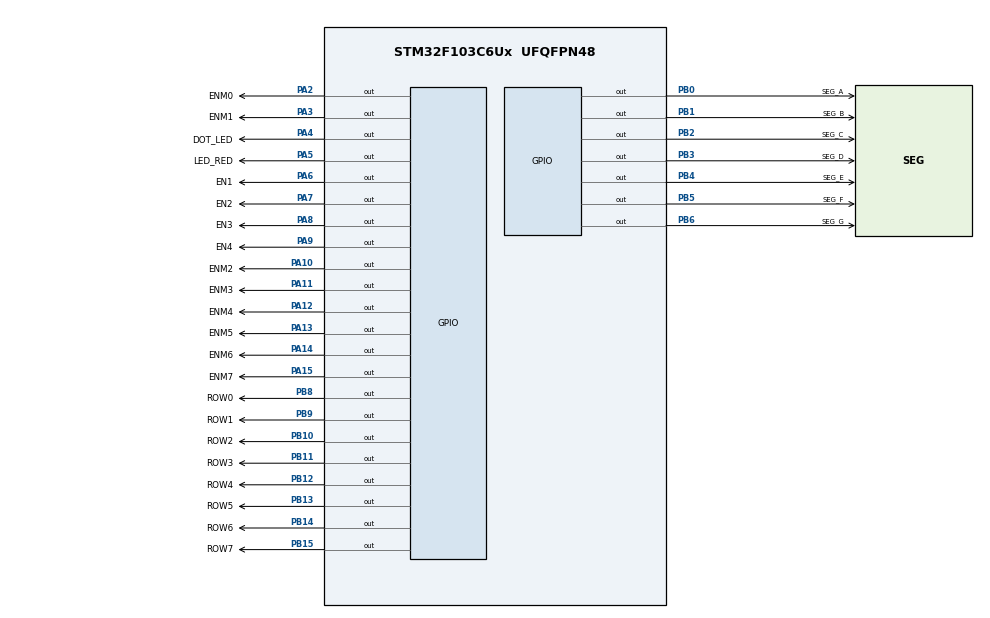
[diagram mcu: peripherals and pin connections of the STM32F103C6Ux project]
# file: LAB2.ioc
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Mcu.Family=STM32F1
Mcu.Name=STM32F103C6Ux
Mcu.Package=UFQFPN48
NVIC.PriorityGroup=NVIC_PRIORITYGROUP_4
NVIC.TIM2_IRQn=true\:0\:0\:false\:false\:true\:true\:true
PA10.GPIO_Label=ENM2
PA10.Signal=GPIO_Output
PA11.GPIO_Label=ENM3
PA11.Signal=GPIO_Output
PA12.GPIO_Label=ENM4
PA12.Signal=GPIO_Output
PA13.GPIO_Label=ENM5
PA13.Signal=GPIO_Output
PA14.GPIO_Label=ENM6
PA14.Signal=GPIO_Output
PA15.GPIO_Label=ENM7
PA15.Signal=GPIO_Output
PA2.GPIO_Label=ENM0
PA2.Signal=GPIO_Output
PA3.GPIO_Label=ENM1
PA3.Signal=GPIO_Output
PA4.GPIO_Label=DOT_LED
PA4.Signal=GPIO_Output
PA5.GPIO_Label=LED_RED
PA5.Signal=GPIO_Output
PA6.GPIO_Label=EN1
PA6.Signal=GPIO_Output
PA7.GPIO_Label=EN2
PA7.Signal=GPIO_Output
PA8.GPIO_Label=EN3
PA8.Signal=GPIO_Output
PA9.GPIO_Label=EN4
PA9.Signal=GPIO_Output
PB0.GPIO_Label=SEG_A
PB0.Signal=GPIO_Output
PB1.GPIO_Label=SEG_B
PB1.Signal=GPIO_Output
PB10.GPIO_Label=ROW2
PB10.Signal=GPIO_Output
PB11.GPIO_Label=ROW3
PB11.Signal=GPIO_Output
PB12.GPIO_Label=ROW4
PB12.Signal=GPIO_Output
PB13.GPIO_Label=ROW5
PB13.Signal=GPIO_Output
PB14.GPIO_Label=ROW6
PB14.Signal=GPIO_Output
PB15.GPIO_Label=ROW7
PB15.Signal=GPIO_Output
PB2.GPIO_Label=SEG_C
PB2.Signal=GPIO_Output
PB3.GPIO_Label=SEG_D
PB3.Signal=GPIO_Output
PB4.GPIO_Label=SEG_E
PB4.Signal=GPIO_Output
PB5.GPIO_Label=SEG_F
PB5.Signal=GPIO_Output
PB6.GPIO_Label=SEG_G
PB6.Signal=GPIO_Output
PB8.GPIO_Label=ROW0
PB8.Signal=GPIO_Output
PB9.GPIO_Label=ROW1
PB9.Signal=GPIO_Output
ProjectManager.HeapSize=0x200
ProjectManager.StackSize=0x400
ProjectManager.TargetToolchain=STM32CubeIDE
RCC.APB1Freq_Value=8000000
RCC.APB2Freq_Value=8000000
TIM2.Period=9
TIM2.Prescaler=7999
VP_SYS_VS_ND.Mode=No_Debug
VP_TIM2_VS_ClockSourceINT.Mode=Internal
board=custom

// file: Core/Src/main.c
/* USER CODE BEGIN Header */
/**
  ******************************************************************************
  * @file           : main.c
  * @brief          : Main program body
  ******************************************************************************
  * @attention
  *
  * <h2><center>&copy; Copyright (c) 2023 STMicroelectronics.
  * All rights reserved.</center></h2>
  *
  * This software component is licensed by ST under BSD 3-Clause license,
  * the "License"; You may not use this file except in compliance with the
  * License. You may obtain a copy of the License at:
  *                        opensource.org/licenses/BSD-3-Clause
  *
  ******************************************************************************
  */
/* USER CODE END Header */
#include "main.h"

TIM_HandleTypeDef htim2;

void SystemClock_Config(void);
static void MX_GPIO_Init(void);
static void MX_TIM2_Init(void);

/* USER CODE BEGIN 0 */
int timer0_counter = 0;
int timer0_flag = 0;
int timer1_counter = 0;
int timer1_flag = 0;
int TIMER_CYCLE = 10;

void setTimer0(int duration) {
    timer0_counter = duration / TIMER_CYCLE;
    timer0_flag = 0;
}
void setTimer1(int duration) {
    timer1_counter = duration / TIMER_CYCLE;
    timer1_flag = 0;
}

void timer_run() {
    if (timer0_counter > 0) {
        timer0_counter--;
    }
    if (timer0_counter <= 0) {
        timer0_flag = 1;
    }
    if (timer1_counter > 0) {
        timer1_counter--;
    }
    if (timer1_counter <= 0) {
        timer1_flag = 1;
    }
}

void display7SEG(int num) {
    // Define the 7-segment patterns for each digit
    const uint8_t segmentPatterns[] = {
        0b11000000, // 0
        0b11111001, // 1
        0b10100100, // 2
        0b10110000, // 3
        0b10011001, // 4
        0b10010010, // 5
        0b10000010, // 6
        0b11111000, // 7
        0b10000000, // 8
        0b10010000  // 9
    };

    // Ensure the input number is within the valid range (0-9)
    if (num < 0 || num > 9) {
        // Handle invalid input
        return;
    }

    // Set the GPIO pins according to the 7-segment pattern for the digit
    HAL_GPIO_WritePin(SEG_A_GPIO_Port, SEG_A_Pin, (segmentPatterns[num] >> 0) & 1);
    HAL_GPIO_WritePin(SEG_B_GPIO_Port, SEG_B_Pin, (segmentPatterns[num] >> 1) & 1);
    HAL_GPIO_WritePin(SEG_C_GPIO_Port, SEG_C_Pin, (segmentPatterns[num] >> 2) & 1);
    HAL_GPIO_WritePin(SEG_D_GPIO_Port, SEG_D_Pin, (segmentPatterns[num] >> 3) & 1);
    HAL_GPIO_WritePin(SEG_E_GPIO_Port, SEG_E_Pin, (segmentPatterns[num] >> 4) & 1);
    HAL_GPIO_WritePin(SEG_F_GPIO_Port, SEG_F_Pin, (segmentPatterns[num] >> 5) & 1);
    HAL_GPIO_WritePin(SEG_G_GPIO_Port, SEG_G_Pin, (segmentPatterns[num] >> 6) & 1);
}
const int MAX_LED = 4;
int led_buffer[4] = {9, 7, 8, 4};
void update7SEG(int index) {
	if (index >= MAX_LED) {
		return;
	}
	switch (index) {
	case 0:
		display7SEG(led_buffer[0]);
		HAL_GPIO_WritePin(EN1_GPIO_Port, EN1_Pin, 0);
		HAL_GPIO_WritePin(EN2_GPIO_Port, EN2_Pin, 1);
		HAL_GPIO_WritePin(EN3_GPIO_Port, EN3_Pin, 1);
		HAL_GPIO_WritePin(EN4_GPIO_Port, EN4_Pin, 1);
		break;
	case 1:
		display7SEG(led_buffer[1]);
		HAL_GPIO_WritePin(EN1_GPIO_Port, EN1_Pin, 1);
		HAL_GPIO_WritePin(EN2_GPIO_Port, EN2_Pin, 0);
		HAL_GPIO_WritePin(EN3_GPIO_Port, EN3_Pin, 1);
		HAL_GPIO_WritePin(EN4_GPIO_Port, EN4_Pin, 1);
	    break;
	case 2:
		display7SEG(led_buffer[2]);
	    HAL_GPIO_WritePin(EN1_GPIO_Port, EN1_Pin, 1);
	    HAL_GPIO_WritePin(EN2_GPIO_Port, EN2_Pin, 1);
	    HAL_GPIO_WritePin(EN3_GPIO_Port, EN3_Pin, 0);
	    HAL_GPIO_WritePin(EN4_GPIO_Port, EN4_Pin, 1);
	    break;
	case 3:
		display7SEG(led_buffer[3]);
	    HAL_GPIO_WritePin(EN1_GPIO_Port, EN1_Pin, 1);
	    HAL_GPIO_WritePin(EN2_GPIO_Port, EN2_Pin, 1);
	    HAL_GPIO_WritePin(EN3_GPIO_Port, EN3_Pin, 1);
	    HAL_GPIO_WritePin(EN4_GPIO_Port, EN4_Pin, 0);
	    break;
	default:
		break;
	}
}

void displayColumnLED(int data) {
	HAL_GPIO_WritePin(ROW0_GPIO_Port, ROW0_Pin, ~(data >> 7) & 1);
	HAL_GPIO_WritePin(ROW1_GPIO_Port, ROW1_Pin, ~(data >> 6) & 1);
	HAL_GPIO_WritePin(ROW2_GPIO_Port, ROW2_Pin, ~(data >> 5) & 1);
	HAL_GPIO_WritePin(ROW3_GPIO_Port, ROW3_Pin, ~(data >> 4) & 1);
	HAL_GPIO_WritePin(ROW4_GPIO_Port, ROW4_Pin, ~(data >> 3) & 1);
	HAL_GPIO_WritePin(ROW5_GPIO_Port, ROW5_Pin, ~(data >> 2) & 1);
	HAL_GPIO_WritePin(ROW6_GPIO_Port, ROW6_Pin, ~(data >> 1) & 1);
	HAL_GPIO_WritePin(ROW7_GPIO_Port, ROW7_Pin, ~(data >> 0) & 1);
}
void clearAllCol(void) {
	HAL_GPIO_WritePin(ENM0_GPIO_Port, ENM0_Pin, 1);
	HAL_GPIO_WritePin(ENM1_GPIO_Port, ENM1_Pin, 1);
	HAL_GPIO_WritePin(ENM2_GPIO_Port, ENM2_Pin, 1);
	HAL_GPIO_WritePin(ENM3_GPIO_Port, ENM3_Pin, 1);
	HAL_GPIO_WritePin(ENM4_GPIO_Port, ENM4_Pin, 1);
	HAL_GPIO_WritePin(ENM5_GPIO_Port, ENM5_Pin, 1);
	HAL_GPIO_WritePin(ENM6_GPIO_Port, ENM6_Pin, 1);
	HAL_GPIO_WritePin(ENM7_GPIO_Port, ENM7_Pin, 1);
}

const int MAX_LED_MATRIX = 8;
uint8_t matrix_buffer[8] = {0x01, 0x02, 0x03, 0x04, 0x05, 0x06, 0x07, 0x08};

void updateLEDMatrix(int index) {
    switch (index) {
        case 0:
        	clearAllCol();
        	displayColumnLED(matrix_buffer[0]);
        	HAL_GPIO_WritePin(ENM0_GPIO_Port, ENM0_Pin, 0);
            break;
        case 1:
        	clearAllCol();
        	displayColumnLED(matrix_buffer[1]);
        	HAL_GPIO_WritePin(ENM1_GPIO_Port, ENM1_Pin, 0);
            break;
        case 2:
        	clearAllCol();
        	displayColumnLED(matrix_buffer[2]);
        	HAL_GPIO_WritePin(ENM2_GPIO_Port, ENM2_Pin, 0);
            break;
        case 3:
        	clearAllCol();
        	displayColumnLED(matrix_buffer[3]);
        	HAL_GPIO_WritePin(ENM3_GPIO_Port, ENM3_Pin, 0);
            break;
        case 4:
        	clearAllCol();
        	displayColumnLED(matrix_buffer[4]);
        	HAL_GPIO_WritePin(ENM4_GPIO_Port, ENM4_Pin, 0);
            break;
        case 5:
        	clearAllCol();
        	displayColumnLED(matrix_buffer[5]);
        	HAL_GPIO_WritePin(ENM5_GPIO_Port, ENM5_Pin, 0);
            break;
        case 6:
        	clearAllCol();
        	displayColumnLED(matrix_buffer[6]);
        	HAL_GPIO_WritePin(ENM6_GPIO_Port, ENM6_Pin, 0);
            break;
        case 7:
        	clearAllCol();
        	displayColumnLED(matrix_buffer[7]);
        	HAL_GPIO_WritePin(ENM7_GPIO_Port, ENM7_Pin, 0);
            break;
        default:
            break;
    }
}

int hour = 15, minute = 8, second = 50;
void updateClockBuffer() {
	  led_buffer[0] = hour / 10;
	  led_buffer[1] = hour % 10;
	  led_buffer[2] = minute / 10;
	  led_buffer[3] = minute % 10;
}

void updateMatrixBuffer(int i) {
    // Define the hex values for the character "A"
    const uint8_t letterA[8] = {
  		  0x00, // 00011000
  		  0x3F, // 00111100
  		  0x7F, // 01100110
  		  0xCC, // 11000011
  		  0xCC, // 11000011
  		  0x7F, // 11111111
  		  0x3F, // 11000011
  		  0x00  // 11000011

    };

    // Copy the hex values to the matrix_buffer
    matrix_buffer[(0)] = letterA[(0+i) % 8];
    matrix_buffer[(1)] = letterA[(1+i) % 8];
    matrix_buffer[(2)] = letterA[(2+i) % 8];
    matrix_buffer[(3)] = letterA[(3+i) % 8];
    matrix_buffer[(4)] = letterA[(4+i) % 8];
    matrix_buffer[(5)] = letterA[(5+i) % 8];
    matrix_buffer[(6)] = letterA[(6+i) % 8];
    matrix_buffer[(7)] = letterA[(7+i) % 8];
}

/* USER CODE END 0 */

int main(void)
{

  /* MCU Configuration--------------------------------------------------------*/

  /* Reset of all peripherals, Initializes the Flash interface and the Systick. */
  HAL_Init();

  /* Configure the system clock */
  SystemClock_Config();

  /* Initialize all configured peripherals */
  MX_GPIO_Init();
  MX_TIM2_Init();
  /* USER CODE BEGIN 2 */
  HAL_TIM_Base_Start_IT(&htim2);

  /* USER CODE END 2 */

  /* Infinite loop */
  /* USER CODE BEGIN WHILE */
  int index_led_matrix = 0;
  int index_led = 0;
  int slide = 0;
  while (1)
    {
      /* USER CODE END WHILE */
  	  if (timer1_flag == 1) {
  		  updateLEDMatrix(index_led_matrix);
  		  index_led_matrix++;
  		  if (index_led_matrix > 7) {
  			  index_led_matrix = 0;
  		  }
  		  updateMatrixBuffer(slide);
  		  ////////////////////
  		  setTimer1(10);
  	  }

  	  if (timer0_flag == 1) {
  		  slide++;
  		  if (slide > 7) {
  			  slide = 0;
  		  }
  		  if (index_led > 3) {
  			  index_led = 0;
  			  second++;
  			  HAL_GPIO_TogglePin(DOT_LED_GPIO_Port, DOT_LED_Pin);
  		  }
  		  if (second >= 60) {
  			  second = 0;
  			  minute++;
  		  }
  		  if (minute >= 60) {
  			  minute = 0;
  			  hour++;
  		  }
  		  if (hour >= 24) {
  			  hour = 0;
  		  }
  		  updateClockBuffer();
  		  update7SEG(index_led);
  		  index_led++;
  		  ///////////
  		  setTimer0(250);
  	  }
    }
}

void SystemClock_Config(void)
{
  RCC_OscInitTypeDef RCC_OscInitStruct = {0};
  RCC_ClkInitTypeDef RCC_ClkInitStruct = {0};

  /** Initializes the RCC Oscillators according to the specified parameters
  * in the RCC_OscInitTypeDef structure.
  */
  RCC_OscInitStruct.OscillatorType = RCC_OSCILLATORTYPE_HSI;
  RCC_OscInitStruct.HSIState = RCC_HSI_ON;
  RCC_OscInitStruct.HSICalibrationValue = RCC_HSICALIBRATION_DEFAULT;
  RCC_OscInitStruct.PLL.PLLState = RCC_PLL_NONE;
  if (HAL_RCC_OscConfig(&RCC_OscInitStruct) != HAL_OK)
  {
    Error_Handler();
  }
  /** Initializes the CPU, AHB and APB buses clocks
  */
  RCC_ClkInitStruct.ClockType = RCC_CLOCKTYPE_HCLK|RCC_CLOCKTYPE_SYSCLK
                              |RCC_CLOCKTYPE_PCLK1|RCC_CLOCKTYPE_PCLK2;
  RCC_ClkInitStruct.SYSCLKSource = RCC_SYSCLKSOURCE_HSI;
  RCC_ClkInitStruct.AHBCLKDivider = RCC_SYSCLK_DIV1;
  RCC_ClkInitStruct.APB1CLKDivider = RCC_HCLK_DIV1;
  RCC_ClkInitStruct.APB2CLKDivider = RCC_HCLK_DIV1;

  if (HAL_RCC_ClockConfig(&RCC_ClkInitStruct, FLASH_LATENCY_0) != HAL_OK)
  {
    Error_Handler();
  }
}

static void MX_TIM2_Init(void)
{

  TIM_ClockConfigTypeDef sClockSourceConfig = {0};
  TIM_MasterConfigTypeDef sMasterConfig = {0};

  htim2.Instance = TIM2;
  htim2.Init.Prescaler = 7999;
  htim2.Init.CounterMode = TIM_COUNTERMODE_UP;
  htim2.Init.Period = 9;
  htim2.Init.ClockDivision = TIM_CLOCKDIVISION_DIV1;
  htim2.Init.AutoReloadPreload = TIM_AUTORELOAD_PRELOAD_DISABLE;
  if (HAL_TIM_Base_Init(&htim2) != HAL_OK)
  {
    Error_Handler();
  }
  sClockSourceConfig.ClockSource = TIM_CLOCKSOURCE_INTERNAL;
  if (HAL_TIM_ConfigClockSource(&htim2, &sClockSourceConfig) != HAL_OK)
  {
    Error_Handler();
  }
  sMasterConfig.MasterOutputTrigger = TIM_TRGO_RESET;
  sMasterConfig.MasterSlaveMode = TIM_MASTERSLAVEMODE_DISABLE;
  if (HAL_TIMEx_MasterConfigSynchronization(&htim2, &sMasterConfig) != HAL_OK)
  {
    Error_Handler();
  }

}

static void MX_GPIO_Init(void)
{
  GPIO_InitTypeDef GPIO_InitStruct = {0};

  /* GPIO Ports Clock Enable */
  __HAL_RCC_GPIOA_CLK_ENABLE();
  __HAL_RCC_GPIOB_CLK_ENABLE();

  /*Configure GPIO pin Output Level */
  HAL_GPIO_WritePin(GPIOA, ENM0_Pin|ENM1_Pin|DOT_LED_Pin|LED_RED_Pin
                          |EN1_Pin|EN2_Pin|EN3_Pin|EN4_Pin
                          |ENM2_Pin|ENM3_Pin|ENM4_Pin|ENM5_Pin
                          |ENM6_Pin|ENM7_Pin, GPIO_PIN_RESET);

  /*Configure GPIO pin Output Level */
  HAL_GPIO_WritePin(GPIOB, SEG_A_Pin|SEG_B_Pin|SEG_C_Pin|ROW2_Pin
                          |ROW3_Pin|ROW4_Pin|ROW5_Pin|ROW6_Pin
                          |ROW7_Pin|SEG_D_Pin|SEG_E_Pin|SEG_F_Pin
                          |SEG_G_Pin|ROW0_Pin|ROW1_Pin, GPIO_PIN_RESET);

  /*Configure GPIO pins : ENM0_Pin ENM1_Pin DOT_LED_Pin LED_RED_Pin
                           EN1_Pin EN2_Pin EN3_Pin EN4_Pin
                           ENM2_Pin ENM3_Pin ENM4_Pin ENM5_Pin
                           ENM6_Pin ENM7_Pin */
  GPIO_InitStruct.Pin = ENM0_Pin|ENM1_Pin|DOT_LED_Pin|LED_RED_Pin
                          |EN1_Pin|EN2_Pin|EN3_Pin|EN4_Pin
                          |ENM2_Pin|ENM3_Pin|ENM4_Pin|ENM5_Pin
                          |ENM6_Pin|ENM7_Pin;
  GPIO_InitStruct.Mode = GPIO_MODE_OUTPUT_PP;
  GPIO_InitStruct.Pull = GPIO_NOPULL;
  GPIO_InitStruct.Speed = GPIO_SPEED_FREQ_LOW;
  HAL_GPIO_Init(GPIOA, &GPIO_InitStruct);

  /*Configure GPIO pins : SEG_A_Pin SEG_B_Pin SEG_C_Pin ROW2_Pin
                           ROW3_Pin ROW4_Pin ROW5_Pin ROW6_Pin
                           ROW7_Pin SEG_D_Pin SEG_E_Pin SEG_F_Pin
                           SEG_G_Pin ROW0_Pin ROW1_Pin */
  GPIO_InitStruct.Pin = SEG_A_Pin|SEG_B_Pin|SEG_C_Pin|ROW2_Pin
                          |ROW3_Pin|ROW4_Pin|ROW5_Pin|ROW6_Pin
                          |ROW7_Pin|SEG_D_Pin|SEG_E_Pin|SEG_F_Pin
                          |SEG_G_Pin|ROW0_Pin|ROW1_Pin;
  GPIO_InitStruct.Mode = GPIO_MODE_OUTPUT_PP;
  GPIO_InitStruct.Pull = GPIO_NOPULL;
  GPIO_InitStruct.Speed = GPIO_SPEED_FREQ_LOW;
  HAL_GPIO_Init(GPIOB, &GPIO_InitStruct);

}

/* USER CODE BEGIN 4 */
void HAL_TIM_PeriodElapsedCallback(TIM_HandleTypeDef *htim) {
	timer_run();
}
/* USER CODE END 4 */

void Error_Handler(void)
{
  __disable_irq();
  while (1)
  {
  }
}

/************************ (C) COPYRIGHT STMicroelectronics *****END OF FILE****/
